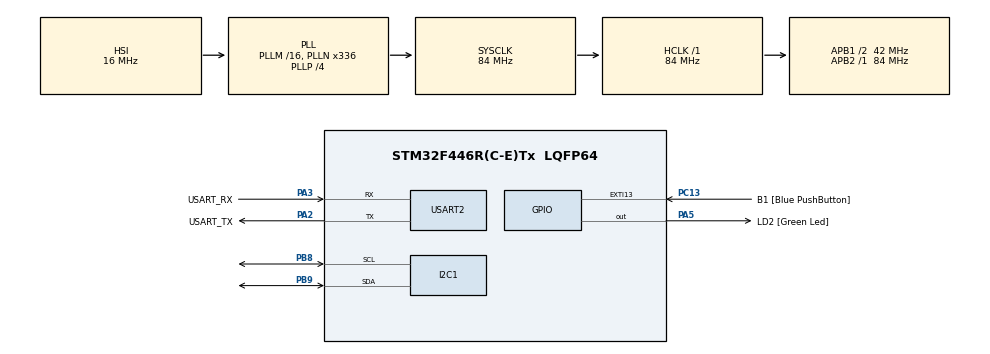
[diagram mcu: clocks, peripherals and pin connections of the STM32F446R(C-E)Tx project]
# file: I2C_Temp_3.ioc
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Mcu.Family=STM32F4
Mcu.Name=STM32F446R(C-E)Tx
Mcu.Package=LQFP64
NVIC.I2C1_ER_IRQn=true\:0\:0\:false\:false\:true\:true\:true
NVIC.I2C1_EV_IRQn=true\:0\:0\:false\:false\:true\:true\:true
NVIC.PriorityGroup=NVIC_PRIORITYGROUP_0
NVIC.USART2_IRQn=true\:0\:0\:false\:false\:true\:true\:true
PA13.GPIO_Label=TMS
PA13.Mode=Serial_Wire
PA13.Signal=SYS_JTMS-SWDIO
PA14.GPIO_Label=TCK
PA14.Mode=Serial_Wire
PA14.Signal=SYS_JTCK-SWCLK
PA2.GPIO_Label=USART_TX
PA2.Mode=Asynchronous
PA2.Signal=USART2_TX
PA3.GPIO_Label=USART_RX
PA3.Mode=Asynchronous
PA3.Signal=USART2_RX
PA5.GPIO_Label=LD2 [Green Led]
PA5.Signal=GPIO_Output
PB3.GPIO_Label=SWO
PB3.Signal=SYS_JTDO-SWO
PB8.Mode=I2C
PB8.Signal=I2C1_SCL
PB9.Mode=I2C
PB9.Signal=I2C1_SDA
PC13.GPIO_Label=B1 [Blue PushButton]
PC13.GPIO_ModeDefaultEXTI=GPIO_MODE_IT_FALLING
PC13.Signal=GPXTI13
PC14-OSC32_IN.Mode=LSE-External-Oscillator
PC14-OSC32_IN.Signal=RCC_OSC32_IN
PC15-OSC32_OUT.Mode=LSE-External-Oscillator
PC15-OSC32_OUT.Signal=RCC_OSC32_OUT
PH0-OSC_IN.Mode=HSE-External-Oscillator
PH0-OSC_IN.Signal=RCC_OSC_IN
PH1-OSC_OUT.Mode=HSE-External-Oscillator
PH1-OSC_OUT.Signal=RCC_OSC_OUT
ProjectManager.HeapSize=0x200
ProjectManager.StackSize=0x400
ProjectManager.TargetToolchain=STM32CubeIDE
RCC.48MHZClocksFreq_Value=84000000
RCC.AHBFreq_Value=84000000
RCC.APB1CLKDivider=RCC_HCLK_DIV2
RCC.APB1Freq_Value=42000000
RCC.APB1TimFreq_Value=84000000
RCC.APB2Freq_Value=84000000
RCC.APB2TimFreq_Value=84000000
RCC.CortexFreq_Value=84000000
RCC.FLatency-AdvancedSettings=FLASH_LATENCY_2
RCC.HCLKFreq_Value=84000000
RCC.HSE_VALUE=8000000
RCC.HSI_VALUE=16000000
RCC.PLLN=336
RCC.PLLP=RCC_PLLP_DIV4
RCC.SYSCLKFreq_VALUE=84000000
RCC.SYSCLKSource=RCC_SYSCLKSOURCE_PLLCLK
RCC.USBFreq_Value=168000000
RCC.VCOOutputFreq_Value=336000000
USART2.VirtualMode=VM_ASYNC
board=NUCLEO-F446RE

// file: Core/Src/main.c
/* USER CODE BEGIN Header */
/**
  ******************************************************************************
  * @file           : main.c
  * @brief          : Main program body
  ******************************************************************************
  * @attention
  *
  * <h2><center>&copy; Copyright (c) 2021 STMicroelectronics.
  * All rights reserved.</center></h2>
  *
  * This software component is licensed by ST under BSD 3-Clause license,
  * the "License"; You may not use this file except in compliance with the
  * License. You may obtain a copy of the License at:
  *                        opensource.org/licenses/BSD-3-Clause
  *
  ******************************************************************************
  */
/* USER CODE END Header */
#include "main.h"

/* USER CODE BEGIN Includes */
#include "string.h"
#include "stdio.h"
#define SHTC1_I2C_ADDR  0x44 << 1
#define TEMP_HUM_CMD_MEASURE_T_FIRST    0xE000
/* USER CODE END Includes */

I2C_HandleTypeDef hi2c1;
UART_HandleTypeDef huart2;

/* USER CODE BEGIN PV */
//static const uint8_t TMP_SHT31_ADDR=0x44 << 1;
//static const uint16_t REG_STATUS = 0xF32D;
//static const uint16_t REG_MES_TMP = 0xE00;
//HAL_StatusTypeDef ret;
//uint16_t buf[12];
//int16_t val;
//float temp_c;
uint8_t TX_data[5]="12345";
uint8_t abc=56;
/* USER CODE END PV */

void SystemClock_Config(void);
static void MX_GPIO_Init(void);
static void MX_USART2_UART_Init(void);
static void MX_I2C1_Init(void);

int main(void)
{

  /* MCU Configuration--------------------------------------------------------*/

  /* Reset of all peripherals, Initializes the Flash interface and the Systick. */
  HAL_Init();

  /* Configure the system clock */
  SystemClock_Config();

  /* Initialize all configured peripherals */
  MX_GPIO_Init();
  MX_USART2_UART_Init();
  MX_I2C1_Init();

  /* Infinite loop */
  /* USER CODE BEGIN WHILE */
  while (1)
  {
	  //Launch convert
	  uint8_t cmd[2];
	  cmd[0] = (uint8_t)(TEMP_HUM_CMD_MEASURE_T_FIRST >> 8);
	  cmd[1] = (uint8_t)TEMP_HUM_CMD_MEASURE_T_FIRST;
	  HAL_I2C_Master_Transmit(&hi2c1, SHTC1_I2C_ADDR, cmd, 2, 100);

	  //Wait
	  HAL_Delay(15);

	  //Read values
	  uint8_t rawValues[6]; //T MSB, T LSB, T CRC, H MSB, H LSB, H CRC
	  HAL_I2C_Master_Receive(&hi2c1, SHTC1_I2C_ADDR, rawValues, 6, 100);
	  uint16_t rawTemp = (uint16_t)((((uint16_t)rawValues[0])<<8) | (uint16_t)rawValues[1]);
	  uint16_t rawHum = (uint16_t)((((uint16_t)rawValues[3])<<8) | (uint16_t)rawValues[4]);

	  float hum = (float)((float)100 * (float)rawHum / (float)65536);
	  float temp =(float)((float)-45 + (float)175 * (float)rawTemp / (float)65536);

	  //HAL_UART_Transmit(huart2, TX_data, sizeof(TX_data),10);
	  HAL_Delay(500);
	  //printf("Initial temperature: %.2fC, humidity: %.2f%%RH\n\r", temperature, humidity);
	  //HAL_I2C_Master_Transmit(hi2c, DevAddress, pData, Size, Timeout);
	  //HAL_I2C_Master_Receive(hi2c, DevAddress, pData, Size, Timeout);

	  //HAL_I2C_Mem_Write(hi2c, DevAddress, MemAddress, MemAddSize, pData, Size, Timeout);
	  //HAL_I2C_Mem_Read(hi2c, DevAddress, MemAddress, MemAddSize, pData, Size, Timeout);
    /* USER CODE END WHILE */

  }
}

void SystemClock_Config(void)
{
  RCC_OscInitTypeDef RCC_OscInitStruct = {0};
  RCC_ClkInitTypeDef RCC_ClkInitStruct = {0};

  /** Configure the main internal regulator output voltage
  */
  __HAL_RCC_PWR_CLK_ENABLE();
  __HAL_PWR_VOLTAGESCALING_CONFIG(PWR_REGULATOR_VOLTAGE_SCALE3);
  /** Initializes the RCC Oscillators according to the specified parameters
  * in the RCC_OscInitTypeDef structure.
  */
  RCC_OscInitStruct.OscillatorType = RCC_OSCILLATORTYPE_HSI;
  RCC_OscInitStruct.HSIState = RCC_HSI_ON;
  RCC_OscInitStruct.HSICalibrationValue = RCC_HSICALIBRATION_DEFAULT;
  RCC_OscInitStruct.PLL.PLLState = RCC_PLL_ON;
  RCC_OscInitStruct.PLL.PLLSource = RCC_PLLSOURCE_HSI;
  RCC_OscInitStruct.PLL.PLLM = 16;
  RCC_OscInitStruct.PLL.PLLN = 336;
  RCC_OscInitStruct.PLL.PLLP = RCC_PLLP_DIV4;
  RCC_OscInitStruct.PLL.PLLQ = 2;
  RCC_OscInitStruct.PLL.PLLR = 2;
  if (HAL_RCC_OscConfig(&RCC_OscInitStruct) != HAL_OK)
  {
    Error_Handler();
  }
  /** Initializes the CPU, AHB and APB buses clocks
  */
  RCC_ClkInitStruct.ClockType = RCC_CLOCKTYPE_HCLK|RCC_CLOCKTYPE_SYSCLK
                              |RCC_CLOCKTYPE_PCLK1|RCC_CLOCKTYPE_PCLK2;
  RCC_ClkInitStruct.SYSCLKSource = RCC_SYSCLKSOURCE_PLLCLK;
  RCC_ClkInitStruct.AHBCLKDivider = RCC_SYSCLK_DIV1;
  RCC_ClkInitStruct.APB1CLKDivider = RCC_HCLK_DIV2;
  RCC_ClkInitStruct.APB2CLKDivider = RCC_HCLK_DIV1;

  if (HAL_RCC_ClockConfig(&RCC_ClkInitStruct, FLASH_LATENCY_2) != HAL_OK)
  {
    Error_Handler();
  }
}

static void MX_I2C1_Init(void)
{

  hi2c1.Instance = I2C1;
  hi2c1.Init.ClockSpeed = 100000;
  hi2c1.Init.DutyCycle = I2C_DUTYCYCLE_2;
  hi2c1.Init.OwnAddress1 = 0;
  hi2c1.Init.AddressingMode = I2C_ADDRESSINGMODE_7BIT;
  hi2c1.Init.DualAddressMode = I2C_DUALADDRESS_DISABLE;
  hi2c1.Init.OwnAddress2 = 0;
  hi2c1.Init.GeneralCallMode = I2C_GENERALCALL_DISABLE;
  hi2c1.Init.NoStretchMode = I2C_NOSTRETCH_DISABLE;
  if (HAL_I2C_Init(&hi2c1) != HAL_OK)
  {
    Error_Handler();
  }

}

static void MX_USART2_UART_Init(void)
{

  huart2.Instance = USART2;
  huart2.Init.BaudRate = 115200;
  huart2.Init.WordLength = UART_WORDLENGTH_8B;
  huart2.Init.StopBits = UART_STOPBITS_1;
  huart2.Init.Parity = UART_PARITY_NONE;
  huart2.Init.Mode = UART_MODE_TX_RX;
  huart2.Init.HwFlowCtl = UART_HWCONTROL_NONE;
  huart2.Init.OverSampling = UART_OVERSAMPLING_16;
  if (HAL_UART_Init(&huart2) != HAL_OK)
  {
    Error_Handler();
  }

}

static void MX_GPIO_Init(void)
{
  GPIO_InitTypeDef GPIO_InitStruct = {0};

  /* GPIO Ports Clock Enable */
  __HAL_RCC_GPIOC_CLK_ENABLE();
  __HAL_RCC_GPIOH_CLK_ENABLE();
  __HAL_RCC_GPIOA_CLK_ENABLE();
  __HAL_RCC_GPIOB_CLK_ENABLE();

  /*Configure GPIO pin Output Level */
  HAL_GPIO_WritePin(LD2_GPIO_Port, LD2_Pin, GPIO_PIN_RESET);

  /*Configure GPIO pin : B1_Pin */
  GPIO_InitStruct.Pin = B1_Pin;
  GPIO_InitStruct.Mode = GPIO_MODE_IT_FALLING;
  GPIO_InitStruct.Pull = GPIO_NOPULL;
  HAL_GPIO_Init(B1_GPIO_Port, &GPIO_InitStruct);

  /*Configure GPIO pin : LD2_Pin */
  GPIO_InitStruct.Pin = LD2_Pin;
  GPIO_InitStruct.Mode = GPIO_MODE_OUTPUT_PP;
  GPIO_InitStruct.Pull = GPIO_NOPULL;
  GPIO_InitStruct.Speed = GPIO_SPEED_FREQ_LOW;
  HAL_GPIO_Init(LD2_GPIO_Port, &GPIO_InitStruct);

}

void Error_Handler(void)
{
  __disable_irq();
  while (1)
  {
  }
}

/************************ (C) COPYRIGHT STMicroelectronics *****END OF FILE****/
